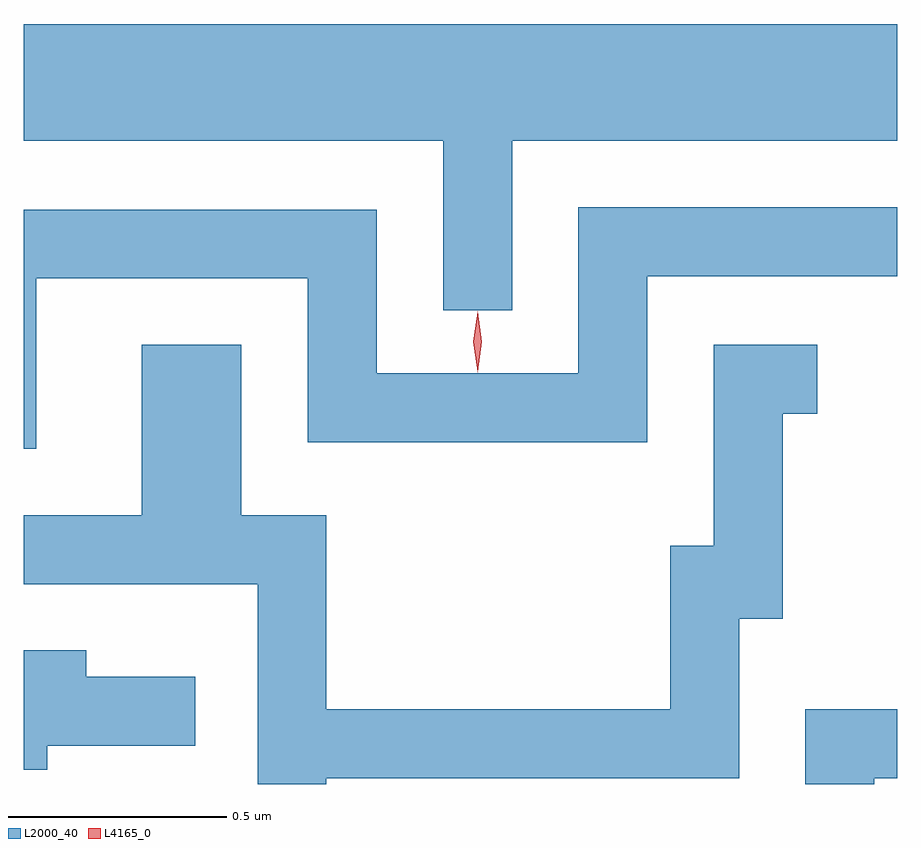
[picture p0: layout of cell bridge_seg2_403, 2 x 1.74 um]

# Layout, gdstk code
import gdstk
lib = gdstk.Library(unit=1e-6, precision=1e-09)
def P(c, l, *ps):  # polygons
    for p in ps: c.add(gdstk.Polygon(p, *l))
L2000_40 = (2000, 40)
L4165_0 = (4165, 0)

bridge_seg2_403 = lib.new_cell('bridge_seg2_403')
P(bridge_seg2_403, L2000_40, [(639.519,983.936),(640.401,983.936),(640.401,984.204),(638.401,984.204),(638.401,983.936),(639.361,983.936),(639.361,983.548),(639.519,983.548)],
  [(638.429,983.621),(639.051,983.621),(639.051,983.246),(639.829,983.246),(639.829,983.626),(640.401,983.626),(640.401,983.784),(639.671,983.784),(639.671,983.404),(639.209,983.404),(639.209,983.779),(638.401,983.779),(638.401,983.231),(638.429,983.231)],
  [(639.094,982.476),(640.039,982.476),(640.039,982.841),(640.139,982.841),(640.139,983.311),(640.218,983.311),(640.218,983.469),(639.981,983.469),(639.981,983.009),(639.881,983.009),(639.881,982.634),(639.094,982.634),(639.094,983.079),(638.899,983.079),(638.899,983.469),(638.671,983.469),(638.671,983.079),(638.401,983.079),(638.401,982.921),(638.936,982.921),(638.936,982.463),(639.094,982.463)],
  [(638.454,982.551),(638.793,982.551),(638.793,982.709),(638.544,982.709),(638.544,982.769),(638.401,982.769),(638.401,982.496),(638.454,982.496)],
  [(640.349,982.476),(640.401,982.476),(640.401,982.634),(640.191,982.634),(640.191,982.463),(640.349,982.463)])
P(bridge_seg2_403, L4165_0, [(639.44,983.406),(639.44,983.407),(639.43,983.476),(639.44,983.545),(639.44,983.546),(639.44,983.545),(639.45,983.476),(639.44,983.407)])

lib.write_gds('bridge_seg2_403.gds')
